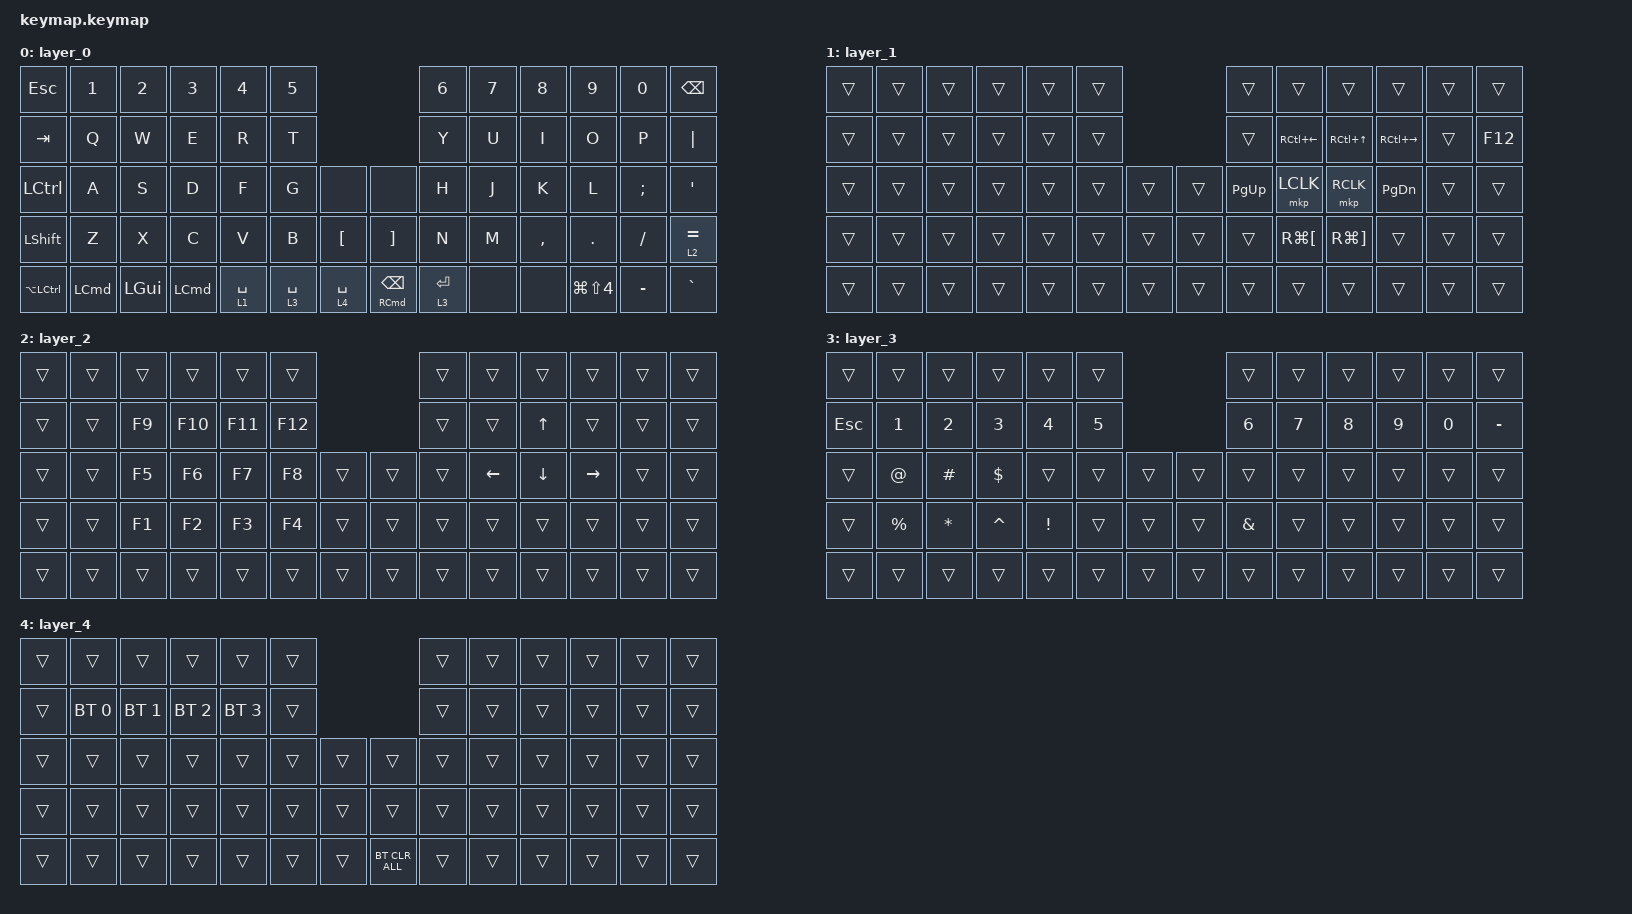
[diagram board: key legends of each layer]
#include <behaviors.dtsi>
#include <dt-bindings/zmk/bt.h>
#include <dt-bindings/zmk/keys.h>
#include <dt-bindings/zmk/pointing.h>

/ {
    combos { compatible = "zmk,combos"; };

    keymap {
        compatible = "zmk,keymap";

        layer_0 {
            bindings = <
&kp ESC           &kp N1            &kp N2    &kp N3            &kp N4       &kp N5                                                      &kp N6       &kp N7  &kp N8     &kp N9                &kp N0     &kp BSPC
&kp TAB           &kp Q             &kp W     &kp E             &kp R        &kp T                                                       &kp Y        &kp U   &kp I      &kp O                 &kp P      &kp PIPE
&kp LEFT_CONTROL  &kp A             &kp S     &kp D             &kp F        &kp G        &none             &none                        &kp H        &kp J   &kp K      &kp L                 &kp SEMI   &kp SQT
&kp LSHFT         &kp Z             &kp X     &kp C             &kp V        &kp B        &kp LEFT_BRACKET  &kp RIGHT_BRACKET            &kp N        &kp M   &kp COMMA  &kp DOT               &kp SLASH  &lt 2 EQUAL
&kp LA(LCTRL)     &kp LEFT_COMMAND  &kp LGUI  &kp LEFT_COMMAND  &lt 1 SPACE  &lt 3 SPACE  &lt 4 SPACE       &mt RIGHT_COMMAND BACKSPACE  &lt 3 ENTER  &none   &none      &kp LG(LS(NUMBER_4))  &kp MINUS  &kp GRAVE
            >;
        };

        layer_1 {
            bindings = <
&trans  &trans  &trans  &trans  &trans  &trans                  &trans       &trans                &trans                 &trans               &trans  &trans
&trans  &trans  &trans  &trans  &trans  &trans                  &trans       &kp RC(LEFT_ARROW)    &kp RC(UP_ARROW)       &kp RC(RIGHT_ARROW)  &trans  &kp F12
&trans  &trans  &trans  &trans  &trans  &trans  &trans  &trans  &kp PAGE_UP  &mkp LCLK             &mkp RCLK              &kp PAGE_DOWN        &trans  &trans
&trans  &trans  &trans  &trans  &trans  &trans  &trans  &trans  &trans       &kp RG(LEFT_BRACKET)  &kp RG(RIGHT_BRACKET)  &trans               &trans  &trans
&trans  &trans  &trans  &trans  &trans  &trans  &trans  &trans  &trans       &trans                &trans                 &trans               &trans  &trans
            >;
        };

        layer_2 {
            bindings = <
&trans  &trans  &trans  &trans   &trans   &trans                   &trans  &trans          &trans          &trans           &trans  &trans
&trans  &trans  &kp F9  &kp F10  &kp F11  &kp F12                  &trans  &trans          &kp UP_ARROW    &trans           &trans  &trans
&trans  &trans  &kp F5  &kp F6   &kp F7   &kp F8   &trans  &trans  &trans  &kp LEFT_ARROW  &kp DOWN_ARROW  &kp RIGHT_ARROW  &trans  &trans
&trans  &trans  &kp F1  &kp F2   &kp F3   &kp F4   &trans  &trans  &trans  &trans          &trans          &trans           &trans  &trans
&trans  &trans  &trans  &trans   &trans   &trans   &trans  &trans  &trans  &trans          &trans          &trans           &trans  &trans
            >;
        };

        layer_3 {
            bindings = <
&trans   &trans        &trans        &trans        &trans           &trans                  &trans         &trans  &trans  &trans  &trans  &trans
&kp ESC  &kp NUMBER_1  &kp NUMBER_2  &kp NUMBER_3  &kp NUMBER_4     &kp N5                  &kp NUMBER_6   &kp N7  &kp N8  &kp N9  &kp N0  &kp MINUS
&trans   &kp AT_SIGN   &kp HASH      &kp DOLLAR    &trans           &trans  &trans  &trans  &trans         &trans  &trans  &trans  &trans  &trans
&trans   &kp PERCENT   &kp ASTERISK  &kp CARET     &kp EXCLAMATION  &trans  &trans  &trans  &kp AMPERSAND  &trans  &trans  &trans  &trans  &trans
&trans   &trans        &trans        &trans        &trans           &trans  &trans  &trans  &trans         &trans  &trans  &trans  &trans  &trans
            >;
        };

        layer_4 {
            bindings = <
&trans  &trans        &trans        &trans        &trans        &trans                          &trans  &trans  &trans  &trans  &trans  &trans
&trans  &bt BT_SEL 0  &bt BT_SEL 1  &bt BT_SEL 2  &bt BT_SEL 3  &trans                          &trans  &trans  &trans  &trans  &trans  &trans
&trans  &trans        &trans        &trans        &trans        &trans  &trans  &trans          &trans  &trans  &trans  &trans  &trans  &trans
&trans  &trans        &trans        &trans        &trans        &trans  &trans  &trans          &trans  &trans  &trans  &trans  &trans  &trans
&trans  &trans        &trans        &trans        &trans        &trans  &trans  &bt BT_CLR_ALL  &trans  &trans  &trans  &trans  &trans  &trans
            >;
        };
    };
};
